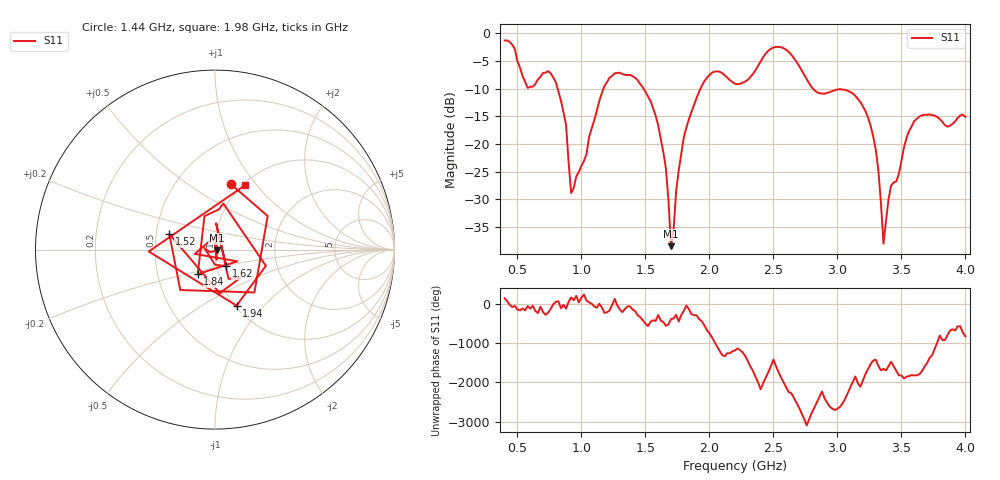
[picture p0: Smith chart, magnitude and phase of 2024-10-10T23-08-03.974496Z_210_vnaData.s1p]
! Created with skrf (http://scikit-rf.org).
# Hz S RI R 50.0
!freq ReS11 ImS11
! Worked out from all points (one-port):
!   181 points, 400 MHz to 4 GHz, reference 50 ohm
!   lowest |S11| = -38.5 dB at 1.7 GHz (marker M1), VSWR 1.02, Z = 51.1 - j0.376 ohm
!   |S11| at or under -10 dB: 814 MHz to 1.173 GHz (358.8 MHz wide, 36.1 % of centre); 1.486 GHz to 1.93 GHz (444.7 MHz wide, 26 % of centre); 2.81 GHz to end of sweep
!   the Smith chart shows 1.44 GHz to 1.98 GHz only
!   S11 on the Smith chart (normalised r, x): 1.44 GHz: 0.89, +0.76; 1.52 GHz: 0.59, +0.11; 1.62 GHz: 1.12, -0.21; 1.84 GHz: 0.80, -0.22; 1.94 GHz: 1.02, -0.72; 1.98 GHz: 1.03, +0.87
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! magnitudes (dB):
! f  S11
! 400 MHz  -1.3
! 580 MHz  -9.8
! 760 MHz  -7.2
! 860 MHz  -14.3
! 880 MHz  -16.5
! 920 MHz  -28.9
! 1.18 GHz  -9.6
! 1.3 GHz  -7.1
! 1.44 GHz  -8.5
! 1.52 GHz  -11.4
! 1.62 GHz  -19.0
! 1.66 GHz  -24.4
! 1.7 GHz  -38.5
! 1.76 GHz  -24.8
! 1.84 GHz  -15.5
! 1.94 GHz  -9.5
! 1.98 GHz  -8.1
! 2.2 GHz  -9.1
! 2.5 GHz  -2.6
! 2.66 GHz  -4.5
! 2.84 GHz  -10.6
! 3.1 GHz  -10.6
! 3.28 GHz  -18.7
! 3.32 GHz  -24.8
! 3.36 GHz  -38.1
! 3.42 GHz  -27.5
! 3.56 GHz  -17.7
! 4 GHz  -15.1
